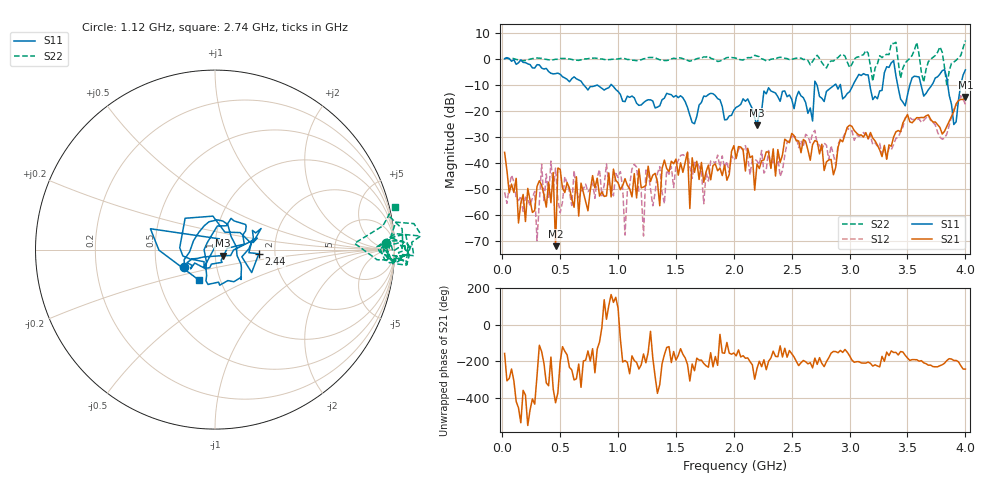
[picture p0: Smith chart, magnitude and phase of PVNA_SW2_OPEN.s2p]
! PocketVna 1.78  pocketvna.com
! Live measurements ((Reflection-S11, Transmission-S21, Transmission-S12, Reflection-S22) Linear 500000-4000000000/201 calibrated)
# Hz S RI R 50
! Hz  ReS11  ImS11  ReS21  ImS21  ReS12  ImS12  ReS22  ImS22
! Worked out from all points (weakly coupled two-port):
!   200 points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, 20.5 MHz to 4 GHz, reference 50 ohm
!   highest |S21| = -14.55 dB at 4 GHz (marker M1); lowest = -71.8 dB at 460.4 MHz (marker M2)
!   lowest |S11| = -25.4 dB at 2.2 GHz (marker M3), VSWR 1.11, Z = 54.3 - j3.65 ohm
!   |S11| at or under -10 dB: 947.8 MHz to 2.698 GHz (1.75 GHz wide, 96 % of centre); 2.719 GHz to 2.868 GHz (148.7 MHz wide, 5.32 % of centre); 3.175 GHz to 3.286 GHz (110.9 MHz wide, 3.43 % of centre) (the widest 3 of 10)
!   |S22| runs from -10.4 to 7.2 dB; largest |S21 - S12| = 0.06
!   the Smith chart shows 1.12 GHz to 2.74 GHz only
!   S11 on the Smith chart (normalised r, x): 1.12 GHz: 0.70, -0.14; 2.44 GHz: 1.64, -0.08; 2.74 GHz: 0.79, -0.28
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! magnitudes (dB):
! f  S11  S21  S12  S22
! 20.5 MHz  0.2  -35.8  -51.1  0.2
! 140.5 MHz  -1.4  -62.9  -54.3  -0.3
! 300.5 MHz  -2.1  -48.9  -69.7  0.5
! 440.4 MHz  -5.6  -43.6  -50.0  -0.3
! 460.4 MHz  -5.6  -71.8  -41.8  0.0
! 480.4 MHz  -5.4  -41.8  -53.8  -0.1
! 700.4 MHz  -9.8  -51.2  -49.9  0.1
! 1.02 GHz  -13.5  -50.1  -43.2  0.3
! 1.06 GHz  -16.3  -45.9  -67.6  0.2
! 1.12 GHz  -14.2  -52.9  -42.2  -0.4
! 1.22 GHz  -16.7  -49.1  -67.9  0.2
! 1.24 GHz  -16.0  -48.6  -42.6  0.3
! 1.36 GHz  -17.9  -56.3  -41.3  -0.2
! 2.02 GHz  -18.5  -38.2  -37.7  0.4
! 2.2 GHz  -25.4  -40.3  -39.1  1.2
! 2.44 GHz  -12.2  -30.7  -37.0  0.3
! 2.68 GHz  -23.8  -32.8  -28.6  -0.9
! 2.74 GHz  -14.3  -36.4  -33.0  0.3
! 3.34 GHz  -3.2  -32.9  -34.0  1.7
! 3.82 GHz  -4.0  -27.7  -30.3  -3.2
! 3.9 GHz  -25.1  -20.1  -19.3  -1.1
! 4 GHz  -4.1  -14.6  -17.4  7.2
